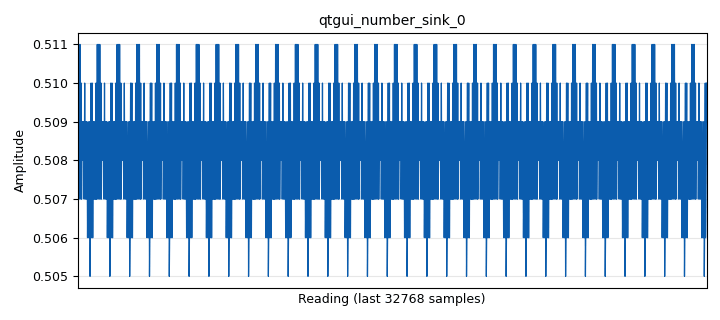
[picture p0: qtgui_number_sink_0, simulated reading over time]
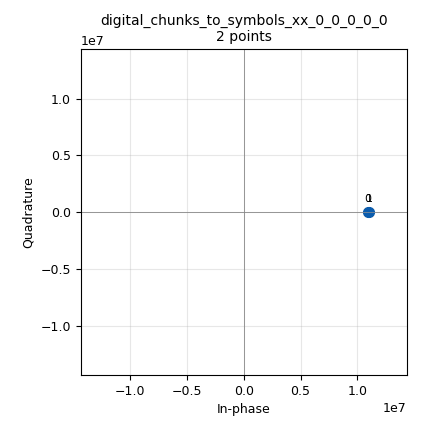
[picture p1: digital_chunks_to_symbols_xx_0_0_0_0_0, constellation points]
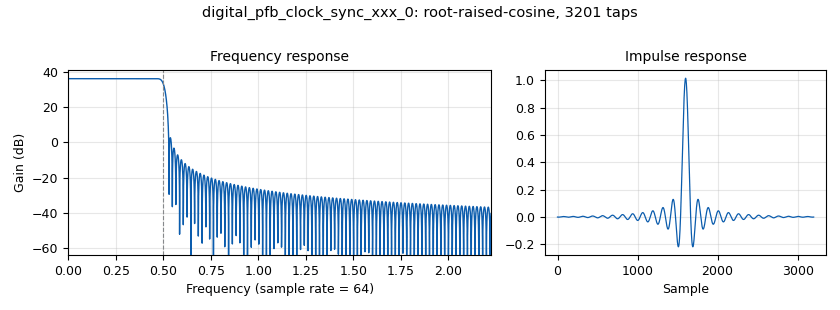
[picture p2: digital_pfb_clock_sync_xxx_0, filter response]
<?xml version='1.0' encoding='utf-8'?>
<?grc format='1' created='3.7.11'?>
<flow_graph>
<block>
<key>options</key>
<param><key>id</key><value>GLFSR_MSK_Block3</value></param>
<param><key>generate_options</key><value>qt_gui</value></param>
</block>
<block>
<key>variable</key>
<param><key>id</key><value>EBW</value></param>
<param><key>value</key><value>.05</value></param>
</block>
<block>
<key>variable_function_probe</key>
<param><key>id</key><value>FindDelay</value></param>
<param><key>block_id</key><value>probe_BER</value></param>
<param><key>function_name</key><value>level</value></param>
<param><key>value</key><value>0</value></param>
<param><key>poll_rate</key><value>10</value></param>
</block>
<block>
<key>variable</key>
<param><key>id</key><value>GLFSR_degree</value></param>
<param><key>value</key><value>6</value></param>
</block>
<block>
<key>variable_rrc_filter_taps</key>
<param><key>id</key><value>RRC_filter_taps</value></param>
<param><key>comment</key><value>Root raised cosine definition.</value></param>
<param><key>alpha</key><value>EBW</value></param>
<param><key>gain</key><value>nfilts</value></param>
<param><key>ntaps</key><value>5*SPS*nfilts/RX_decimation</value></param>
<param><key>samp_rate</key><value>nfilts</value></param>
<param><key>sym_rate</key><value>1.0</value></param>
</block>
<block>
<key>variable</key>
<param><key>id</key><value>RX_decimation</value></param>
<param><key>comment</key><value>receiver
decimation 
factor</value></param>
<param><key>value</key><value>19*3</value></param>
</block>
<block>
<key>variable</key>
<param><key>id</key><value>SPS</value></param>
<param><key>comment</key><value>Samples 
per signal</value></param>
<param><key>value</key><value>int(samp_rate/fsk_deviation_hz/4)</value></param>
</block>
<block>
<key>variable</key>
<param><key>id</key><value>carrier_freq</value></param>
<param><key>comment</key><value>Audio carrier frequency</value></param>
<param><key>value</key><value>1.75e6</value></param>
</block>
<block>
<key>variable_qtgui_range</key>
<param><key>id</key><value>delay</value></param>
<param><key>value</key><value>0</value></param>
<param><key>orient</key><value>Qt.Horizontal</value></param>
<param><key>start</key><value>0</value></param>
<param><key>step</key><value>1</value></param>
<param><key>stop</key><value>100</value></param>
<param><key>rangeType</key><value>int</value></param>
</block>
<block>
<key>variable</key>
<param><key>id</key><value>dummy</value></param>
<param><key>value</key><value>10</value></param>
</block>
<block>
<key>variable</key>
<param><key>id</key><value>fsk_deviation_hz</value></param>
<param><key>comment</key><value>Frequency deviation of 
GFSK modulation</value></param>
<param><key>value</key><value>1e5/dummy</value></param>
</block>
<block>
<key>variable</key>
<param><key>id</key><value>nfilts</value></param>
<param><key>value</key><value>64</value></param>
</block>
<block>
<key>variable</key>
<param><key>id</key><value>noise_amp</value></param>
<param><key>value</key><value>0</value></param>
</block>
<block>
<key>variable</key>
<param><key>id</key><value>rand_seed</value></param>
<param><key>value</key><value>1</value></param>
</block>
<block>
<key>variable</key>
<param><key>id</key><value>samp_rate</value></param>
<param><key>comment</key><value>Sample rate - 
determines BW
of transmitter and receiver.
This should be larger
than BW of signal itself.</value></param>
<param><key>value</key><value>45.6e6/2</value></param>
</block>
<block>
<key>analog_const_source_x</key>
<param><key>id</key><value>analog_const_source_x_0</value></param>
<param><key>const</key><value>0</value></param>
<param><key>type</key><value>float</value></param>
</block>
<block>
<key>analog_feedforward_agc_cc</key>
<param><key>id</key><value>analog_feedforward_agc_cc_0</value></param>
<param><key>comment</key><value>Optional 
AGC</value></param>
<param><key>num_samples</key><value>1024</value></param>
<param><key>reference</key><value>1.0</value></param>
</block>
<block>
<key>analog_pwr_squelch_xx</key>
<param><key>id</key><value>analog_pwr_squelch_xx_0_0</value></param>
<param><key>alpha</key><value>.01</value></param>
<param><key>comment</key><value>Optional power
squelch</value></param>
<param><key>gate</key><value>True</value></param>
<param><key>ramp</key><value>0</value></param>
<param><key>threshold</key><value>-60</value></param>
<param><key>type</key><value>complex</value></param>
</block>
<block>
<key>analog_quadrature_demod_cf</key>
<param><key>id</key><value>analog_quadrature_demod_cf_0</value></param>
<param><key>comment</key><value>FSK demod</value></param>
<param><key>gain</key><value>samp_rate/(2*math.pi*fsk_deviation_hz/8.0)/(RX_decimation)</value></param>
</block>
<block>
<key>analog_sig_source_x</key>
<param><key>id</key><value>analog_sig_source_x_0</value></param>
<param><key>amp</key><value>1</value></param>
<param><key>freq</key><value>-carrier_freq</value></param>
<param><key>offset</key><value>0</value></param>
<param><key>type</key><value>complex</value></param>
<param><key>samp_rate</key><value>samp_rate</value></param>
<param><key>waveform</key><value>analog.GR_COS_WAVE</value></param>
</block>
<block>
<key>blks2_error_rate</key>
<param><key>id</key><value>blks2_error_rate_0</value></param>
<param><key>bits_per_symbol</key><value>1</value></param>
<param><key>type</key><value>'BER'</value></param>
<param><key>win_size</key><value>1000</value></param>
</block>
<block>
<key>blocks_add_const_vxx</key>
<param><key>id</key><value>blocks_add_const_vxx_0</value></param>
<param><key>const</key><value>-1</value></param>
<param><key>_enabled</key><value>0</value></param>
<param><key>type</key><value>float</value></param>
</block>
<block>
<key>blocks_char_to_float</key>
<param><key>id</key><value>blocks_char_to_float_0</value></param>
<param><key>_enabled</key><value>0</value></param>
<param><key>scale</key><value>1</value></param>
</block>
<block>
<key>blocks_char_to_float</key>
<param><key>id</key><value>blocks_char_to_float_1</value></param>
<param><key>_enabled</key><value>0</value></param>
<param><key>scale</key><value>1</value></param>
</block>
<block>
<key>blocks_char_to_float</key>
<param><key>id</key><value>blocks_char_to_float_1_0</value></param>
<param><key>_enabled</key><value>0</value></param>
<param><key>scale</key><value>1</value></param>
</block>
<block>
<key>blocks_delay</key>
<param><key>id</key><value>blocks_delay_0</value></param>
<param><key>delay</key><value>delay</value></param>
<param><key>type</key><value>byte</value></param>
</block>
<block>
<key>blocks_float_to_complex</key>
<param><key>id</key><value>blocks_float_to_complex_0</value></param>
</block>
<block>
<key>blocks_multiply_xx</key>
<param><key>id</key><value>blocks_multiply_xx_1</value></param>
<param><key>comment</key><value>Perform frequency 
translation (down convert)</value></param>
<param><key>type</key><value>complex</value></param>
</block>
<block>
<key>blocks_repeat</key>
<param><key>id</key><value>blocks_repeat_0</value></param>
<param><key>_enabled</key><value>0</value></param>
<param><key>interp</key><value>SPS-1</value></param>
<param><key>type</key><value>byte</value></param>
</block>
<block>
<key>blocks_repeat</key>
<param><key>id</key><value>blocks_repeat_0_0_0_0</value></param>
<param><key>comment</key><value>Establish number of
samples per symbol</value></param>
<param><key>interp</key><value>SPS-1</value></param>
<param><key>type</key><value>float</value></param>
</block>
<block>
<key>blocks_throttle</key>
<param><key>id</key><value>blocks_throttle_0</value></param>
<param><key>samples_per_second</key><value>samp_rate</value></param>
<param><key>type</key><value>byte</value></param>
</block>
<block>
<key>blocks_throttle</key>
<param><key>id</key><value>blocks_throttle_1</value></param>
<param><key>samples_per_second</key><value>samp_rate</value></param>
<param><key>type</key><value>complex</value></param>
</block>
<block>
<key>blocks_vco_f</key>
<param><key>id</key><value>blocks_vco_f_0_0_0_0</value></param>
<param><key>amplitude</key><value>1</value></param>
<param><key>comment</key><value>FSK modulation</value></param>
<param><key>samp_rate</key><value>samp_rate</value></param>
<param><key>sensitivity</key><value>1</value></param>
</block>
<block>
<key>channels_channel_model</key>
<param><key>id</key><value>channels_channel_model_0</value></param>
<param><key>epsilon</key><value>1.0</value></param>
<param><key>freq_offset</key><value>1.5e6</value></param>
<param><key>noise_voltage</key><value>noise_amp</value></param>
<param><key>seed</key><value>rand_seed</value></param>
<param><key>taps</key><value>1.0 + 1.0j</value></param>
</block>
<block>
<key>digital_binary_slicer_fb</key>
<param><key>id</key><value>digital_binary_slicer_fb_0</value></param>
</block>
<block>
<key>digital_chunks_to_symbols_xx</key>
<param><key>id</key><value>digital_chunks_to_symbols_xx_0_0_0_0_0</value></param>
<param><key>comment</key><value>Binary 1's and 0's to symbols.</value></param>
<param><key>dimension</key><value>1</value></param>
<param><key>in_type</key><value>byte</value></param>
<param><key>out_type</key><value>float</value></param>
<param><key>symbol_table</key><value>(2*3.14*carrier_freq-2*3.14*fsk_deviation_hz,2*3.14*carrier_freq+2*3.14*fsk_deviation_hz)</value></param>
</block>
<block>
<key>digital_glfsr_source_x</key>
<param><key>id</key><value>digital_glfsr_source_x_0</value></param>
<param><key>degree</key><value>GLFSR_degree</value></param>
<param><key>mask</key><value>0</value></param>
<param><key>repeat</key><value>True</value></param>
<param><key>seed</key><value>rand_seed</value></param>
<param><key>type</key><value>byte</value></param>
</block>
<block>
<key>digital_pfb_clock_sync_xxx</key>
<param><key>id</key><value>digital_pfb_clock_sync_xxx_0</value></param>
<param><key>comment</key><value>Clock sync</value></param>
<param><key>filter_size</key><value>nfilts</value></param>
<param><key>init_phase</key><value>nfilts/2</value></param>
<param><key>loop_bw</key><value>6.28/400.0*2/70</value></param>
<param><key>max_dev</key><value>2</value></param>
<param><key>osps</key><value>1</value></param>
<param><key>sps</key><value>SPS/RX_decimation</value></param>
<param><key>taps</key><value>RRC_filter_taps</value></param>
<param><key>type</key><value>fff</value></param>
</block>
<block>
<key>parameter</key>
<param><key>id</key><value>hdr_format</value></param>
<param><key>comment</key><value>Header format definition</value></param>
<param><key>label</key><value>Header Formatter</value></param>
<param><key>value</key><value>digital.header_format_default(digital.packet_utils.default_access_code, 0)</value></param>
</block>
<block>
<key>import</key>
<param><key>id</key><value>import_0</value></param>
<param><key>comment</key><value>Custom Embedded
Python Block uses 
this library.</value></param>
<param><key>import</key><value>import numpy</value></param>
</block>
<block>
<key>blocks_probe_signal_x</key>
<param><key>id</key><value>probe_BER</value></param>
<param><key>type</key><value>float</value></param>
</block>
<block>
<key>qtgui_number_sink</key>
<param><key>id</key><value>qtgui_number_sink_0</value></param>
<param><key>autoscale</key><value>True</value></param>
<param><key>graph_type</key><value>qtgui.NUM_GRAPH_HORIZ</value></param>
<param><key>type</key><value>float</value></param>
</block>
<block>
<key>qtgui_time_sink_x</key>
<param><key>id</key><value>qtgui_time_sink_x_0</value></param>
<param><key>_enabled</key><value>0</value></param>
<param><key>color1</key><value>"blue"</value></param>
<param><key>label1</key><value></value></param>
<param><key>color2</key><value>"red"</value></param>
<param><key>label2</key><value></value></param>
<param><key>nconnections</key><value>2</value></param>
<param><key>size</key><value>1024</value></param>
<param><key>srate</key><value>samp_rate</value></param>
<param><key>type</key><value>float</value></param>
</block>
<block>
<key>qtgui_time_sink_x</key>
<param><key>id</key><value>qtgui_time_sink_x_0_0_0_0</value></param>
<param><key>_enabled</key><value>0</value></param>
<param><key>color1</key><value>"blue"</value></param>
<param><key>label1</key><value></value></param>
<param><key>color2</key><value>"red"</value></param>
<param><key>label2</key><value></value></param>
<param><key>nconnections</key><value>2</value></param>
<param><key>size</key><value>1024</value></param>
<param><key>srate</key><value>samp_rate</value></param>
<param><key>type</key><value>float</value></param>
</block>
<block>
<key>qtgui_time_sink_x</key>
<param><key>id</key><value>qtgui_time_sink_x_1</value></param>
<param><key>_enabled</key><value>0</value></param>
<param><key>color1</key><value>"blue"</value></param>
<param><key>label1</key><value></value></param>
<param><key>size</key><value>1024</value></param>
<param><key>srate</key><value>int(samp_rate/RX_decimation)</value></param>
<param><key>type</key><value>float</value></param>
</block>
<block>
<key>rational_resampler_xxx</key>
<param><key>id</key><value>rational_resampler_xxx_0_0</value></param>
<param><key>decim</key><value>RX_decimation</value></param>
<param><key>interp</key><value>1</value></param>
<param><key>taps</key><value></value></param>
<param><key>type</key><value>ccc</value></param>
</block>
<block>
<key>virtual_sink</key>
<param><key>id</key><value>virtual_sink_0</value></param>
<param><key>stream_id</key><value>0</value></param>
</block>
<block>
<key>virtual_source</key>
<param><key>id</key><value>virtual_source_0</value></param>
<param><key>stream_id</key><value>0</value></param>
</block>
<connection><source_block_id>analog_const_source_x_0</source_block_id><sink_block_id>blocks_float_to_complex_0</sink_block_id><source_key>0</source_key><sink_key>1</sink_key></connection>
<connection><source_block_id>analog_feedforward_agc_cc_0</source_block_id><sink_block_id>analog_quadrature_demod_cf_0</sink_block_id><source_key>0</source_key><sink_key>0</sink_key></connection>
<connection><source_block_id>analog_pwr_squelch_xx_0_0</source_block_id><sink_block_id>analog_feedforward_agc_cc_0</sink_block_id><source_key>0</source_key><sink_key>0</sink_key></connection>
<connection><source_block_id>analog_quadrature_demod_cf_0</source_block_id><sink_block_id>digital_pfb_clock_sync_xxx_0</sink_block_id><source_key>0</source_key><sink_key>0</sink_key></connection>
<connection><source_block_id>analog_quadrature_demod_cf_0</source_block_id><sink_block_id>qtgui_time_sink_x_1</sink_block_id><source_key>0</source_key><sink_key>0</sink_key></connection>
<connection><source_block_id>analog_sig_source_x_0</source_block_id><sink_block_id>blocks_throttle_1</sink_block_id><source_key>0</source_key><sink_key>0</sink_key></connection>
<connection><source_block_id>blks2_error_rate_0</source_block_id><sink_block_id>probe_BER</sink_block_id><source_key>0</source_key><sink_key>0</sink_key></connection>
<connection><source_block_id>blks2_error_rate_0</source_block_id><sink_block_id>qtgui_number_sink_0</sink_block_id><source_key>0</source_key><sink_key>0</sink_key></connection>
<connection><source_block_id>blocks_add_const_vxx_0</source_block_id><sink_block_id>qtgui_time_sink_x_0</sink_block_id><source_key>0</source_key><sink_key>1</sink_key></connection>
<connection><source_block_id>blocks_char_to_float_0</source_block_id><sink_block_id>qtgui_time_sink_x_0_0_0_0</sink_block_id><source_key>0</source_key><sink_key>1</sink_key></connection>
<connection><source_block_id>blocks_char_to_float_1</source_block_id><sink_block_id>qtgui_time_sink_x_0</sink_block_id><source_key>0</source_key><sink_key>0</sink_key></connection>
<connection><source_block_id>blocks_char_to_float_1_0</source_block_id><sink_block_id>blocks_add_const_vxx_0</sink_block_id><source_key>0</source_key><sink_key>0</sink_key></connection>
<connection><source_block_id>blocks_delay_0</source_block_id><sink_block_id>blks2_error_rate_0</sink_block_id><source_key>0</source_key><sink_key>1</sink_key></connection>
<connection><source_block_id>blocks_delay_0</source_block_id><sink_block_id>blocks_char_to_float_1</sink_block_id><source_key>0</source_key><sink_key>0</sink_key></connection>
<connection><source_block_id>blocks_float_to_complex_0</source_block_id><sink_block_id>channels_channel_model_0</sink_block_id><source_key>0</source_key><sink_key>0</sink_key></connection>
<connection><source_block_id>blocks_multiply_xx_1</source_block_id><sink_block_id>rational_resampler_xxx_0_0</sink_block_id><source_key>0</source_key><sink_key>0</sink_key></connection>
<connection><source_block_id>blocks_repeat_0</source_block_id><sink_block_id>blocks_char_to_float_0</sink_block_id><source_key>0</source_key><sink_key>0</sink_key></connection>
<connection><source_block_id>blocks_repeat_0_0_0_0</source_block_id><sink_block_id>blocks_vco_f_0_0_0_0</sink_block_id><source_key>0</source_key><sink_key>0</sink_key></connection>
<connection><source_block_id>blocks_throttle_0</source_block_id><sink_block_id>blks2_error_rate_0</sink_block_id><source_key>0</source_key><sink_key>0</sink_key></connection>
<connection><source_block_id>blocks_throttle_0</source_block_id><sink_block_id>blocks_repeat_0</sink_block_id><source_key>0</source_key><sink_key>0</sink_key></connection>
<connection><source_block_id>blocks_throttle_0</source_block_id><sink_block_id>digital_chunks_to_symbols_xx_0_0_0_0_0</sink_block_id><source_key>0</source_key><sink_key>0</sink_key></connection>
<connection><source_block_id>blocks_throttle_1</source_block_id><sink_block_id>blocks_multiply_xx_1</sink_block_id><source_key>0</source_key><sink_key>1</sink_key></connection>
<connection><source_block_id>blocks_vco_f_0_0_0_0</source_block_id><sink_block_id>blocks_float_to_complex_0</sink_block_id><source_key>0</source_key><sink_key>0</sink_key></connection>
<connection><source_block_id>blocks_vco_f_0_0_0_0</source_block_id><sink_block_id>qtgui_time_sink_x_0_0_0_0</sink_block_id><source_key>0</source_key><sink_key>0</sink_key></connection>
<connection><source_block_id>channels_channel_model_0</source_block_id><sink_block_id>virtual_sink_0</sink_block_id><source_key>0</source_key><sink_key>0</sink_key></connection>
<connection><source_block_id>digital_binary_slicer_fb_0</source_block_id><sink_block_id>blocks_delay_0</sink_block_id><source_key>0</source_key><sink_key>0</sink_key></connection>
<connection><source_block_id>digital_chunks_to_symbols_xx_0_0_0_0_0</source_block_id><sink_block_id>blocks_repeat_0_0_0_0</sink_block_id><source_key>0</source_key><sink_key>0</sink_key></connection>
<connection><source_block_id>digital_glfsr_source_x_0</source_block_id><sink_block_id>blocks_throttle_0</sink_block_id><source_key>0</source_key><sink_key>0</sink_key></connection>
<connection><source_block_id>digital_pfb_clock_sync_xxx_0</source_block_id><sink_block_id>digital_binary_slicer_fb_0</sink_block_id><source_key>0</source_key><sink_key>0</sink_key></connection>
<connection><source_block_id>rational_resampler_xxx_0_0</source_block_id><sink_block_id>analog_pwr_squelch_xx_0_0</sink_block_id><source_key>0</source_key><sink_key>0</sink_key></connection>
<connection><source_block_id>virtual_source_0</source_block_id><sink_block_id>blocks_multiply_xx_1</sink_block_id><source_key>0</source_key><sink_key>0</sink_key></connection>
</flow_graph>
